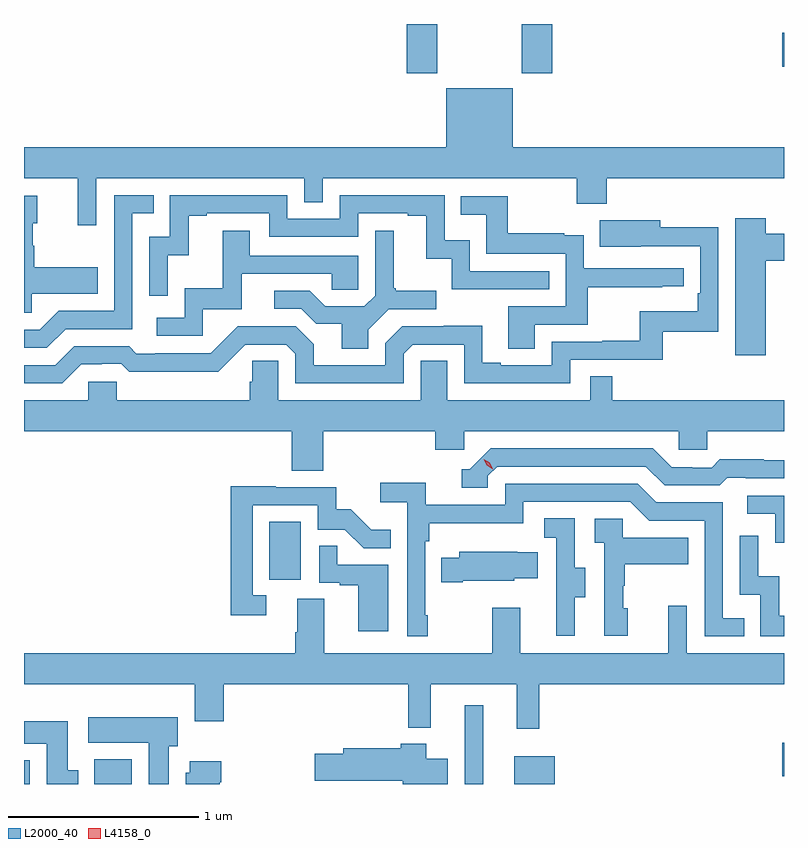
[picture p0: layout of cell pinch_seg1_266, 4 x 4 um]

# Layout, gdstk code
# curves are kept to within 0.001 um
import gdstk
lib = gdstk.Library(unit=1e-6, precision=1e-09)
def R(c, l, rs):  # rectangles x0, y0, x1, y1
    for r in rs: c.add(gdstk.rectangle(r[:2], r[2:], *l))
def P(c, l, *ps):  # polygons
    for p in ps: c.add(gdstk.Polygon(p, *l))
L2000_40 = (2000, 40)
L4158_0 = (4158, 0)

pinch_seg1_266 = lib.new_cell('pinch_seg1_266')
R(pinch_seg1_266, L2000_40, [(911.502,541.884,911.533,542.008), (911.873,541.884,912.07,542.014), (913.821,541.884,913.918,542.299), (914.081,541.884,914.296,542.029), (915.492,541.925,915.502,542.1), (912.794,542.958,912.958,543.265), (913.517,545.625,913.677,545.884), (914.122,545.625,914.282,545.884), (915.492,545.659,915.502,545.837)])
P(pinch_seg1_266, L2000_40, [(911.883,545.072),(912.978,545.072),(912.978,544.945),(913.074,544.945),(913.074,545.072),(914.41,545.072),(914.41,544.937),(914.57,544.937),(914.57,545.072),(915.502,545.072),(915.502,545.236),(914.074,545.236),(914.074,545.545),(913.724,545.545),(913.724,545.236),(911.502,545.236),(911.502,545.072),(911.786,545.072),(911.786,544.824),(911.883,544.824)],
  [(911.722,544.278),(912.072,544.278),(912.072,544.887),(912.185,544.887),(912.185,544.983),(911.976,544.983),(911.976,544.374),(911.685,544.374),(911.586,544.275),(911.502,544.275),(911.502,544.179),(911.623,544.179)],
  [(912.258,544.667),(912.368,544.667),(912.368,544.875),(912.463,544.875),(912.463,544.887),(912.792,544.887),(912.792,544.764),(913.26,544.764),(913.26,544.887),(913.523,544.887),(913.523,544.875),(913.619,544.875),(913.619,544.649),(913.752,544.649),(913.752,544.488),(914.267,544.488),(914.267,544.584),(913.848,544.584),(913.848,544.747),(913.716,544.747),(913.716,544.983),(913.164,544.983),(913.164,544.86),(912.888,544.86),(912.888,544.983),(912.27,544.983),(912.27,544.764),(912.162,544.764),(912.162,544.455),(912.258,544.455)],
  [(911.544,544.463),(911.891,544.463),(911.891,544.603),(911.557,544.603),(911.557,544.718),(911.547,544.718),(911.547,544.836),(911.572,544.836),(911.572,544.981),(911.502,544.981),(911.502,544.365),(911.544,544.365)],
  [(914.191,544.302),(914.468,544.302),(914.468,544.498),(914.861,544.498),(914.861,544.503),(914.974,544.503),(914.974,544.599),(914.448,544.599),(914.448,544.771),(914.345,544.771),(914.345,544.783),(914.047,544.783),(914.047,544.977),(913.801,544.977),(913.801,544.88),(913.936,544.88),(913.936,544.674),(914.352,544.674),(914.352,544.398),(914.051,544.398),(914.051,544.174),(914.191,544.174)],
  [(915.406,544.637),(915.502,544.637),(915.502,544.779),(915.406,544.779),(915.406,544.861),(915.245,544.861),(915.245,544.14),(915.406,544.14)],
  [(911.803,544.092),(911.91,544.092),(911.91,544.095),(912.013,544.095),(912.055,544.053),(912.288,544.053),(912.288,544.055),(912.524,544.055),(912.666,544.197),(912.882,544.197),(912.93,544.149),(912.93,543.993),(913.5,543.993),(913.5,544.149),(913.548,544.197),(913.818,544.197),(913.818,543.993),(914.376,543.993),(914.376,544.116),(914.863,544.116),(914.863,544.263),(915.156,544.263),(915.156,544.814),(914.851,544.814),(914.851,544.852),(914.533,544.852),(914.533,544.712),(915.06,544.713),(915.06,544.468),(915.047,544.468),(915.047,544.372),(914.742,544.372),(914.742,544.217),(914.545,544.217),(914.545,544.212),(914.28,544.212),(914.28,544.089),(914.011,544.089),(914.011,544.102),(913.915,544.102),(913.915,544.295),(913.71,544.295),(913.71,544.293),(913.494,544.293),(913.404,544.203),(913.404,544.089),(913.027,544.089),(913.027,544.199),(912.933,544.293),(912.627,544.293),(912.486,544.152),(912.193,544.152),(912.193,544.149),(912.094,544.149),(912.055,544.188),(911.766,544.188),(911.667,544.089),(911.502,544.089),(911.502,543.993),(911.704,543.993)],
  [(912.444,544.383),(912.649,544.383),(912.649,544.569),(913.123,544.569),(913.123,544.485),(913.26,544.485),(913.26,544.665),(912.691,544.665),(912.691,544.795),(912.547,544.795),(912.547,544.492),(912.348,544.492),(912.348,544.338),(912.201,544.338),(912.201,544.242),(912.444,544.242)],
  [(913.315,544.276),(913.422,544.383),(913.672,544.383),(913.672,544.48),(913.459,544.48),(913.459,544.492),(913.447,544.492),(913.447,544.795),(913.35,544.795),(913.35,544.455),(913.293,544.398),(913.087,544.398),(913.006,544.479),(912.819,544.479),(912.819,544.386),(912.96,544.386),(913.04,544.306),(913.175,544.306),(913.175,544.174),(913.315,544.174)],
  [(913.076,543.74),(913.667,543.74),(913.667,543.642),(913.818,543.642),(913.818,543.74),(914.949,543.74),(914.949,543.642),(915.099,543.642),(915.099,543.74),(915.502,543.74),(915.502,543.904),(914.597,543.904),(914.597,544.031),(914.481,544.031),(914.481,543.904),(913.729,543.904),(913.729,544.112),(913.59,544.112),(913.59,543.904),(912.84,543.904),(912.84,544.112),(912.703,544.112),(912.703,544.002),(912.689,544.002),(912.689,543.904),(911.991,543.904),(911.991,544.002),(911.841,544.002),(911.841,543.904),(911.502,543.904),(911.502,543.74),(912.911,543.74),(912.911,543.532),(913.076,543.532)],
  [(913.944,543.507),(913.992,543.555),(914.775,543.555),(914.874,543.456),(915.163,543.456),(915.202,543.495),(915.301,543.495),(915.301,543.492),(915.502,543.492),(915.502,543.589),(915.396,543.589),(915.396,543.592),(915.163,543.592),(915.121,543.549),(915.018,543.549),(915.018,543.552),(914.911,543.552),(914.812,543.651),(913.959,543.651),(913.848,543.54),(913.805,543.54),(913.805,543.444),(913.944,543.444)],
  [(913.627,542.773),(913.614,542.773),(913.614,543.161),(913.634,543.161),(913.634,543.257),(914.13,543.257),(914.13,543.369),(914.694,543.369),(914.793,543.27),(915.084,543.27),(915.084,542.661),(915.293,542.661),(915.293,542.757),(915.18,542.757),(915.18,543.366),(914.83,543.366),(914.731,543.465),(914.034,543.465),(914.034,543.354),(913.616,543.354),(913.616,543.47),(913.377,543.47),(913.377,543.368),(913.518,543.368),(913.518,542.661),(913.627,542.661)],
  [(912.778,542.877),(912.705,542.877),(912.705,543.351),(913.047,543.351),(913.047,543.222),(913.191,543.222),(913.289,543.124),(913.433,543.124),(913.433,543.223),(913.329,543.223),(913.222,543.33),(913.146,543.33),(913.146,543.447),(912.827,543.447),(912.827,543.452),(912.589,543.452),(912.589,542.772),(912.778,542.772)],
  [(915.502,543.402),(915.309,543.402),(915.309,543.306),(915.456,543.306),(915.456,543.153),(915.502,543.153)],
  [(914.401,542.866),(914.455,542.866),(914.455,543.021),(914.4,543.021),(914.4,543.284),(914.241,543.284),(914.241,543.181),(914.304,543.181),(914.304,542.877),(914.303,542.877),(914.303,542.664),(914.401,542.664)],
  [(914.68,542.808),(914.655,542.808),(914.655,542.927),(914.665,542.927),(914.665,543.041),(914.999,543.041),(914.999,543.181),(914.652,543.181),(914.652,543.279),(914.505,543.279),(914.505,543.155),(914.556,543.155),(914.556,542.664),(914.68,542.664)],
  [(915.502,542.77),(915.476,542.77),(915.476,542.978),(915.366,542.978),(915.366,543.19),(915.27,543.19),(915.27,542.88),(915.378,542.88),(915.378,542.661),(915.502,542.661)],
  [(913.42,543.039),(913.151,543.039),(913.151,543.137),(913.056,543.137),(913.056,542.943),(913.163,542.943),(913.163,542.931),(913.262,542.931),(913.262,542.688),(913.42,542.688)],
  [(913.81,542.954),(914.082,542.954),(914.082,542.966),(914.207,542.966),(914.207,543.103),(914.099,543.103),(914.099,543.106),(913.793,543.106),(913.793,543.076),(913.699,543.076),(913.699,542.947),(913.81,542.947)],
  [(914.213,542.408),(915.502,542.408),(915.502,542.572),(914.991,542.572),(914.991,542.821),(914.894,542.821),(914.894,542.572),(914.113,542.572),(914.113,542.812),(913.966,542.812),(913.966,542.572),(913.081,542.572),(913.081,542.858),(912.941,542.858),(912.941,542.684),(912.929,542.684),(912.929,542.572),(911.502,542.572),(911.502,542.408),(912.401,542.408),(912.401,542.214),(912.554,542.214),(912.554,542.408),(913.525,542.408),(913.525,542.18),(913.643,542.18),(913.643,542.408),(914.096,542.408),(914.096,542.175),(914.213,542.175)],
  [(912.265,542.082),(912.31,542.082),(912.31,542.236),(911.841,542.236),(911.841,542.102),(912.158,542.102),(912.158,541.884),(912.265,541.884)],
  [(911.788,541.956),(911.731,541.956),(911.731,542.215),(911.502,542.215),(911.502,542.096),(911.621,542.096),(911.621,541.884),(911.788,541.884)],
  [(913.732,542.017),(913.618,542.017),(913.618,542.095),(913.484,542.095),(913.484,542.073),(913.181,542.073),(913.181,542.043),(913.032,542.043),(913.032,541.901),(913.496,541.901),(913.496,541.884),(913.732,541.884)],
  [(912.532,541.892),(912.54,541.892),(912.54,542.005),(912.374,542.005),(912.374,541.944),(912.353,541.944),(912.353,541.884),(912.532,541.884)])
P(pinch_seg1_266, L4158_0, [(913.968,543.541),(913.937,543.561),(913.921,543.593),(913.921,543.594),(913.921,543.594),(913.952,543.574),(913.968,543.542),(913.968,543.541)])

lib.write_gds('pinch_seg1_266.gds')
